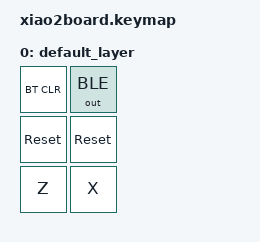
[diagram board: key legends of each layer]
/*
 * Copyright (c) 2022 The ZMK Contributors
 *
 * SPDX-License-Identifier: MIT
 */

#include <behaviors.dtsi>
#include <dt-bindings/zmk/keys.h>
#include <dt-bindings/zmk/bt.h>
#include <dt-bindings/zmk/outputs.h>
 
/ {
    keymap {
        compatible = "zmk,keymap";
 
        default_layer {
            bindings = <
                &bt BT_CLR &out OUT_BLE
                &sys_reset &sys_reset
                &kp Z &kp X
            >;
        };
    };
};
